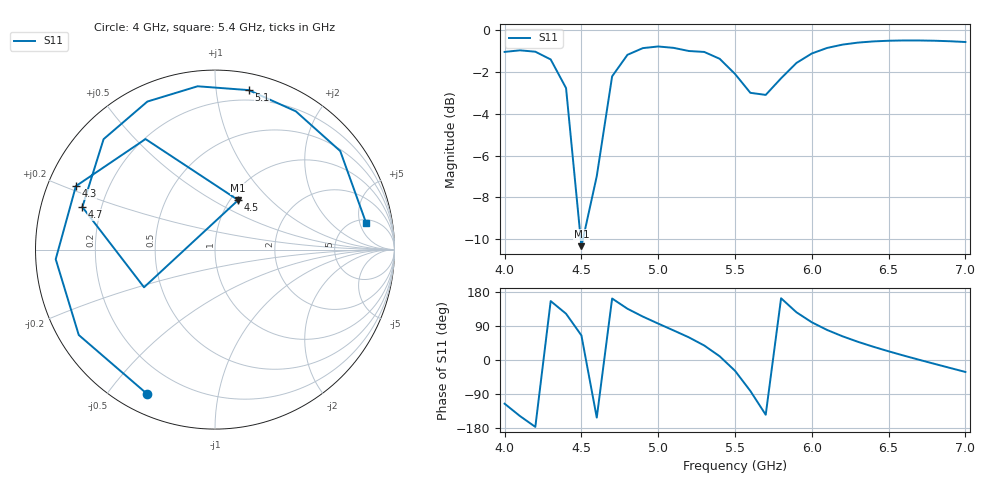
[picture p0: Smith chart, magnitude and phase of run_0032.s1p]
! Touchstone file exported from HFSS 2024.2.0
!  File:  C:/Users/wsak9/Desktop/Sim Fast/Widenad Patch/WP_AI_V1_sweep.aedt
!  Generated:  04:06:39 PM Oct 13, 2026
!  Design:  A1_model
!  Project:  WP_AI_V1_sweep
!  Setup:  Setup1
!  Solution:  Sweep
! Variables:
!  Air_gap = 4.28mm
!  Curve_Amp1 = 3.64
!  Curve_len1 = 1
!  Curve_pos = 12.71mm
!  Extra = 2.99mm
!  H_sub = 0.79mm
!  L_Patch = 21.42mm
!  L_Patch1 = 11.35mm
!  Sx = 3.19mm
!  Sy = 1.6mm
!  WS = 0.83mm
!  W_Patch = 18.01mm
!  W_Patch1 = 8.36mm
!Data is not renormalized
# GHz S MA
! Terminal data exported
! Port[1] = 1
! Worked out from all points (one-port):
!   31 points, 4 GHz to 7 GHz, reference per port
!   lowest |S11| = -10.3 dB at 4.5 GHz (marker M1), VSWR 1.87
!   |S11| at or under -10 dB: 4.495593 GHz to 4.509951 GHz (14.36 MHz wide, 0.319 % of centre)
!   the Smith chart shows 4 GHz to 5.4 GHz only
!   S11 on the Smith chart (normalised r, x): 4 GHz: 0.08, -0.63; 4.3 GHz: 0.08, +0.22; 4.5 GHz: 1.09, +0.66; 4.7 GHz: 0.13, +0.15; 5.1 GHz: 0.12, +1.23; 5.4 GHz: 5.80, +6.33
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4  0.8881 -115.3
4.1  0.8959 -147.9
4.2  0.8891 -176.5
4.3  0.8519 155.5
4.4  0.7275 122.1
4.5  0.3043 64.9
4.6  0.4477 -152.0
4.7  0.7761 162.2
4.8  0.8741 135.2
4.9  0.9068 114.6
5  0.9151 96.1
5.1  0.9081 78.1
5.2  0.8925 59.7
5.3  0.8879 38.2
5.4  0.8551 9.9
5.5  0.7866 -28.4
5.6  0.7087 -81.7
5.7  0.7007 -144.5
5.8  0.7678 162.9
5.9  0.8355 125.9
6  0.8804 99.5
6.1  0.9078 79.2
6.2  0.9245 62.5
6.3  0.9348 48.1
6.5  0.9445 22.9
6.7  0.9459 0.5
6.8  0.9445 -10.3
7  0.9379 -31.6
